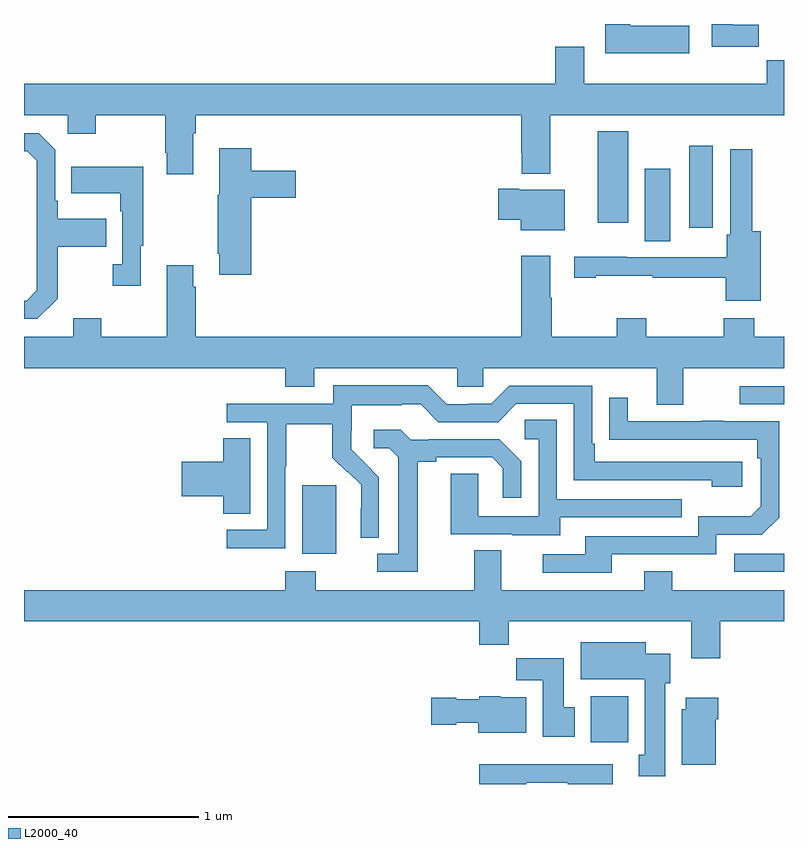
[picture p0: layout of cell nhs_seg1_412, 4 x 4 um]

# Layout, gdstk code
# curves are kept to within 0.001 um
import gdstk
lib = gdstk.Library(unit=1e-6, precision=1e-09)
def R(c, l, rs):  # rectangles x0, y0, x1, y1
    for r in rs: c.add(gdstk.rectangle(r[:2], r[2:], *l))
def P(c, l, *ps):  # polygons
    for p in ps: c.add(gdstk.Polygon(p, *l))
L2000_40 = (2000, 40)

nhs_seg1_412 = lib.new_cell('nhs_seg1_412')
R(nhs_seg1_412, L2000_40, [(135.983,560.42,136.18,560.662), (136.737,561.315,137,561.411), (134.465,561.41,134.644,561.771), (136.767,562.197,137,562.293), (136.268,563.056,136.402,563.437), (136.502,563.127,136.624,563.557), (136.019,563.154,136.18,563.635)])
P(nhs_seg1_412, L2000_40, [(136.501,564.19),(136.192,564.19),(136.192,564.199),(136.058,564.199),(136.058,564.044),(136.501,564.044)],
  [(136.868,564.196),(136.729,564.196),(136.729,564.199),(136.619,564.199),(136.619,564.078),(136.868,564.078)],
  [(133.891,563.624),(133.904,563.624),(133.904,563.72),(135.617,563.72),(135.617,563.518),(135.62,563.518),(135.62,563.411),(135.769,563.411),(135.769,563.72),(137,563.72),(137,564.008),(136.909,564.008),(136.909,563.884),(135.949,563.884),(135.949,564.079),(135.797,564.079),(135.797,563.884),(133,563.884),(133,563.72),(133.23,563.72),(133.23,563.621),(133.377,563.621),(133.377,563.72),(133.744,563.72),(133.744,563.521),(133.751,563.521),(133.751,563.409),(133.891,563.409)],
  [(133.177,562.753),(133.177,563.026),(133.433,563.026),(133.433,563.173),(133.177,563.173),(133.177,563.269),(133.164,563.269),(133.164,563.538),(133.077,563.625),(133,563.625),(133,563.529),(133.017,563.529),(133.068,563.478),(133.068,562.797),(133.014,562.743),(133,562.743),(133,562.647),(133.071,562.647)],
  [(134.195,563.285),(134.431,563.285),(134.431,563.427),(134.195,563.427),(134.195,563.545),(134.027,563.545),(134.027,563.301),(134.02,563.301),(134.02,562.99),(134.027,562.99),(134.027,562.878),(134.195,562.878)],
  [(136.877,563.107),(136.832,563.107),(136.832,563.539),(136.716,563.539),(136.716,563.091),(136.699,563.091),(136.699,562.972),(136.506,562.972),(136.506,562.971),(136.172,562.971),(136.172,562.973),(135.897,562.973),(135.897,562.863),(136.009,562.863),(136.009,562.873),(136.31,562.873),(136.31,562.863),(136.694,562.863),(136.694,562.743),(136.877,562.743)],
  [(133.615,563.033),(133.627,563.033),(133.627,563.449),(133.249,563.449),(133.249,563.309),(133.506,563.309),(133.506,563.213),(133.518,563.213),(133.518,562.934),(133.467,562.934),(133.467,562.821),(133.615,562.821)],
  [(135.847,563.326),(135.607,563.326),(135.607,563.331),(135.495,563.331),(135.495,563.168),(135.614,563.168),(135.614,563.114),(135.847,563.114)],
  [(136.471,562.388),(137,562.388),(137,562.552),(136.844,562.552),(136.844,562.651),(136.684,562.651),(136.684,562.552),(136.275,562.552),(136.275,562.651),(136.12,562.651),(136.12,562.552),(135.777,562.552),(135.777,562.757),(135.769,562.757),(135.769,562.978),(135.617,562.978),(135.617,562.552),(133.904,562.552),(133.904,562.817),(133.891,562.817),(133.891,562.93),(133.751,562.93),(133.751,562.552),(133.407,562.552),(133.407,562.651),(133.259,562.651),(133.259,562.552),(133,562.552),(133,562.388),(134.375,562.388),(134.375,562.289),(134.527,562.289),(134.527,562.388),(135.279,562.388),(135.279,562.29),(135.417,562.29),(135.417,562.388),(136.331,562.388),(136.331,562.194),(136.471,562.194)],
  [(134.376,561.868),(134.379,561.868),(134.379,562.092),(134.623,562.092),(134.623,561.917),(134.7,561.84),(134.703,561.843),(134.774,561.773),(134.774,561.65),(134.772,561.65),(134.772,561.496),(134.868,561.496),(134.868,561.814),(134.722,561.962),(134.722,562.059),(134.724,562.059),(134.724,562.193),(134.987,562.193),(134.987,562.197),(135.087,562.197),(135.18,562.104),(135.495,562.104),(135.591,562.2),(135.894,562.2),(135.894,561.798),(136.619,561.798),(136.619,561.764),(136.78,561.764),(136.78,561.894),(136.003,561.894),(136.003,561.991),(135.99,561.991),(135.99,562.296),(135.555,562.296),(135.459,562.2),(135.341,562.2),(135.341,562.197),(135.225,562.197),(135.125,562.297),(134.628,562.297),(134.628,562.2),(134.067,562.2),(134.067,562.104),(134.28,562.104),(134.28,561.537),(134.067,561.537),(134.067,561.439),(134.376,561.439)],
  [(136.093,561.408),(136.644,561.408),(136.644,561.51),(136.884,561.51),(136.974,561.6),(136.974,562.107),(136.679,562.107),(136.679,562.112),(136.567,562.112),(136.567,562.107),(136.177,562.107),(136.177,562.231),(136.081,562.231),(136.081,562.012),(136.858,562.011),(136.858,561.914),(136.878,561.914),(136.878,561.66),(136.825,561.607),(136.548,561.607),(136.548,561.504),(135.953,561.504),(135.953,561.408),(135.729,561.408),(135.729,561.312),(136.093,561.312)],
  [(135.823,561.603),(136.463,561.603),(136.463,561.699),(135.804,561.699),(135.804,562.115),(135.636,562.115),(135.636,562.014),(135.708,562.014),(135.708,561.609),(135.39,561.609),(135.39,561.833),(135.245,561.833),(135.245,561.513),(135.569,561.513),(135.569,561.509),(135.823,561.509)],
  [(135.073,561.896),(135.169,561.896),(135.169,561.918),(135.464,561.918),(135.521,561.861),(135.521,561.705),(135.618,561.705),(135.618,561.898),(135.502,562.014),(135.13,562.014),(135.13,562.011),(135.036,562.011),(134.984,562.063),(134.841,562.063),(134.841,561.966),(134.922,561.966),(134.969,561.919),(134.969,561.411),(134.859,561.411),(134.859,561.315),(135.073,561.315)],
  [(134.191,562.019),(134.048,562.019),(134.048,561.896),(133.83,561.896),(133.83,561.713),(134.048,561.713),(134.048,561.622),(134.191,561.622)],
  [(136.664,561.056),(137,561.056),(137,561.22),(136.413,561.22),(136.413,561.319),(136.265,561.319),(136.265,561.22),(135.511,561.22),(135.511,561.428),(135.371,561.428),(135.371,561.22),(134.535,561.22),(134.535,561.319),(134.375,561.319),(134.375,561.22),(133,561.22),(133,561.056),(135.395,561.056),(135.395,560.932),(135.551,560.932),(135.551,561.056),(136.511,561.056),(136.511,560.862),(136.664,560.862)],
  [(136.375,560.73),(136.402,560.73),(136.402,560.884),(136.273,560.884),(136.273,560.944),(135.929,560.944),(135.929,560.75),(136.268,560.75),(136.268,560.354),(136.235,560.354),(136.235,560.241),(136.375,560.241)],
  [(135.898,560.604),(135.841,560.604),(135.841,560.862),(135.592,560.862),(135.592,560.744),(135.731,560.744),(135.731,560.448),(135.898,560.448)],
  [(135.643,560.656),(135.51,560.656),(135.51,560.662),(135.396,560.662),(135.396,560.644),(135.276,560.644),(135.276,560.652),(135.144,560.652),(135.144,560.51),(135.276,560.51),(135.276,560.522),(135.392,560.522),(135.392,560.468),(135.643,560.468)],
  [(136.642,560.54),(136.655,560.54),(136.655,560.653),(136.484,560.653),(136.484,560.592),(136.463,560.592),(136.463,560.3),(136.642,560.3)],
  [(135.643,560.205),(135.863,560.205),(135.863,560.199),(136.099,560.199),(136.099,560.302),(135.395,560.302),(135.395,560.199),(135.643,560.199)])

lib.write_gds('nhs_seg1_412.gds')
